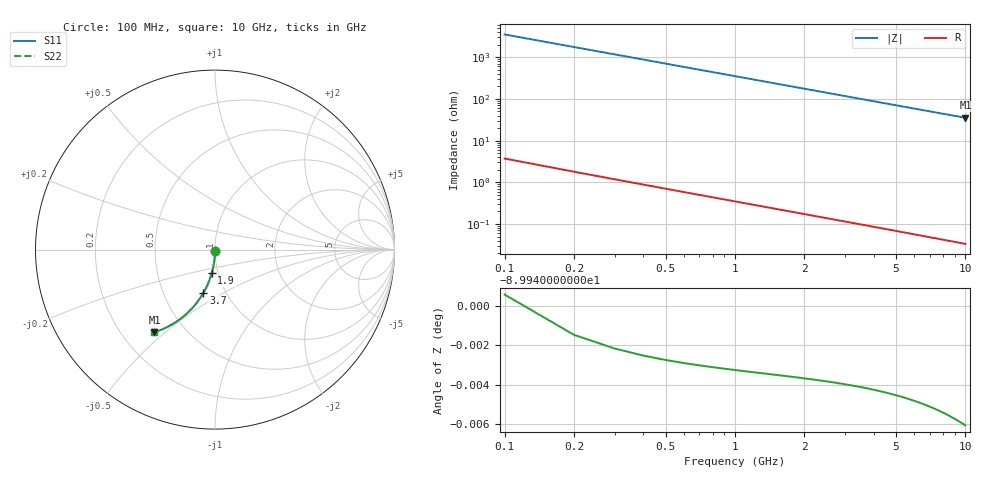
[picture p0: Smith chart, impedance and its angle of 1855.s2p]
# Hz S RI R 50.00
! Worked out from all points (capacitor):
!   100 points, 100 MHz to 10 GHz, reference 50 ohm
!   read as one part in shunt: C = 453 fF near 100 MHz
!   lowest |Z| = 35.3 ohm at 10 GHz (marker M1)
!   S11 on the Smith chart (normalised r, x): 100 MHz: 1.00, -0.01; 1.9 GHz: 0.93, -0.25; 3.7 GHz: 0.79, -0.41; 10 GHz: 0.34, -0.46
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1e8  1.51e-05 -0.00699  0.9999 -0.00723  0.9999 -0.00723  1.51e-05 -0.00699
2e8  -0.000143 -0.014  0.9997 -0.0145  0.9997 -0.0145  -0.000143 -0.014
3e8  -0.000402 -0.021  0.9994 -0.0217  0.9994 -0.0217  -0.000402 -0.021
4e8  -0.000763 -0.028  0.9991 -0.0289  0.9991 -0.0289  -0.000763 -0.028
5e8  -0.00122 -0.0349  0.9986 -0.0361  0.9986 -0.0361  -0.00122 -0.0349
6e8  -0.00179 -0.0419  0.9981 -0.0433  0.9981 -0.0433  -0.00179 -0.0419
7e8  -0.00245 -0.0488  0.9974 -0.0505  0.9974 -0.0505  -0.00245 -0.0488
8e8  -0.00321 -0.0558  0.9966 -0.0577  0.9966 -0.0577  -0.00321 -0.0558
9e8  -0.00407 -0.0627  0.9958 -0.0648  0.9958 -0.0648  -0.00407 -0.0627
1.1e9  -0.00608 -0.0765  0.9938 -0.0791  0.9938 -0.0791  -0.00608 -0.0765
1.4e9  -0.00984 -0.0969  0.99 -0.1003  0.99 -0.1003  -0.00984 -0.0969
1.8e9  -0.0162 -0.1238  0.9837 -0.1281  0.9837 -0.1281  -0.0162 -0.1238
1.9e9  -0.018 -0.1305  0.9818 -0.135  0.9818 -0.135  -0.018 -0.1305
2.2e9  -0.024 -0.1501  0.9759 -0.1553  0.9759 -0.1553  -0.024 -0.1501
2.6e9  -0.0332 -0.1757  0.9667 -0.1819  0.9667 -0.1819  -0.0332 -0.1757
3.4e9  -0.0554 -0.2244  0.9444 -0.2325  0.9444 -0.2325  -0.0554 -0.2244
3.7e9  -0.065 -0.2417  0.9348 -0.2506  0.9348 -0.2506  -0.065 -0.2417
4.4e9  -0.0895 -0.2799  0.9103 -0.2903  0.9103 -0.2903  -0.0895 -0.2799
5.1e9  -0.1167 -0.3146  0.8831 -0.3267  0.8831 -0.3267  -0.1167 -0.3146
6.7e9  -0.1858 -0.3805  0.814 -0.3965  0.814 -0.3965  -0.1858 -0.3805
8.4e9  -0.2642 -0.4304  0.7354 -0.4506  0.7354 -0.4506  -0.2642 -0.4304
1e10  -0.3376 -0.4605  0.6619 -0.4845  0.6619 -0.4845  -0.3376 -0.4605
